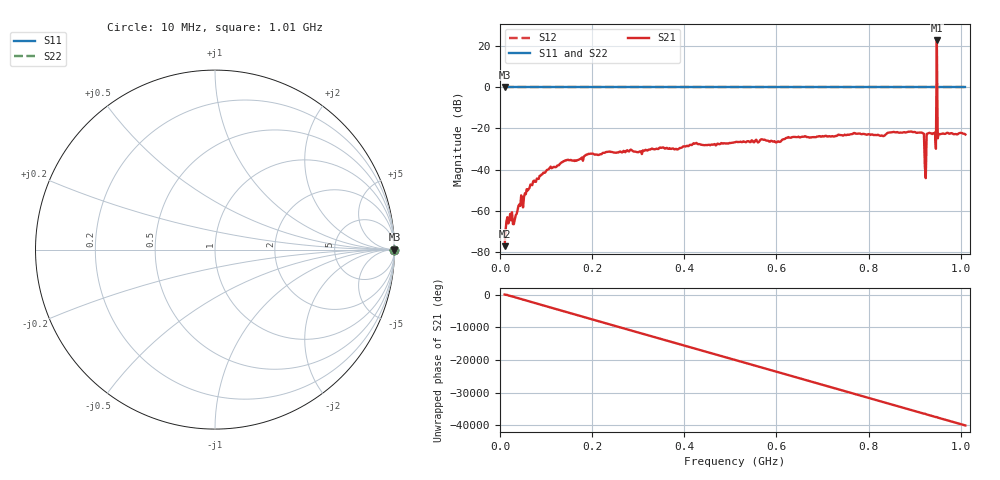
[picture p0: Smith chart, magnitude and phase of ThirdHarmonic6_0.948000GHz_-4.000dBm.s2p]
! 8/16/2025 6:47:42 AM
! C:\ANRITSUVNA\TEMP\TEMP.S2P
! CHANNEL.1
! TR.MEASUREMENT
! RAW.DATA
! RF.CORRECTION.OFF
! AVERAGING.OFF
! IF.BANDWIDTH: 5KHZ
! SWEEPTYPE:  FREQ.SWEEP(Linear)
! Reference Plane Port Info
! PORT:  PORT1  PORT2
! DISTANCE:  0  m  0  m
! TIME:  0  s  0  s
! PHASE.OFFSET:  0  deg.  0  deg.
! LOSS:  0  dB  0  dB
! REF.LOSS:  0  dB  0  dB
! REF.FREQ:  0  Hz  0  Hz
! Power Info
! POWER:  -20  dBm  -20  dBm
! EFF.POWER:  -20  dBm  -20  dBm
! SOURCE.ATTEN:  0  dB  0  dB
! TEST.ATTEN:  0  dB  0  dB
# GHZ S RI R 50.0
! FREQ.GHZ  S11RE  S11IM  S21RE  S21IM  S12RE  S12IM  S22RE  S22IM
!; PortSelection: Port_12
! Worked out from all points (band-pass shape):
!   501 points, 10 MHz to 1.01 GHz, reference 50 ohm
!   highest |S21| = 22.46 dB at 948 MHz (marker M1); lowest = -77.0 dB at 10 MHz (marker M2)
!   |S21| within 3 dB of the highest: 947.8855 MHz to 948.1268 MHz (241.3 kHz wide, 0.0255 % of centre)
!   lowest |S11| = 0.0 dB at 10 MHz (marker M3)
!   |S11| at or under -10 dB: nowhere
!   |S22| runs from 0.0 to 0.0 dB; largest |S21 - S12| = 14
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0.01  1 0  -9.2e-06 0.00014  1 0  1 0
0.018  1 0  -0.000492 7.94e-05  1 0  1 0
0.032  1 0  0.000604 -7.9e-06  1 0  1 0
0.044  1 0  -0.00054 -0.00121  1 0  1 0
0.07  1 0  -0.00148 -0.00392  1 0  1 0
0.106  1 0  -0.00712 -0.00746  1 0  1 0
0.178  1 0  -0.019 -0.00506  1 0  1 0
0.344  1 0  0.0313 -0.00443  1 0  1 0
0.51  1 0  -0.0444 0.0112  1 0  1 0
0.678  1 0  -0.0203 -0.0574  1 0  1 0
0.844  1 0  0.0499 0.0607  1 0  1 0
0.916  1 0  0.0733 0.0274  1 0  1 0
0.92  1 0  -0.0542 -0.0489  1 0  1 0
0.922  1 0  -0.0101 -0.00692  1 0  1 0
0.926  1 0  0.0691 -0.0232  1 0  1 0
0.93  1 0  -0.0763 -0.000741  1 0  1 0
0.942  1 0  0.0398 0.0643  1 0  1 0
0.944  1 0  0.0732 -0.0297  1 0  1 0
0.948  1 0  -3.424 -12.83  1 0  1 0
0.952  1 0  0.0713 0.0133  1 0  1 0
0.954  1 0  0.0276 -0.0667  1 0  1 0
1.01  1 0  -0.0676 -0.0207  1 0  1 0
